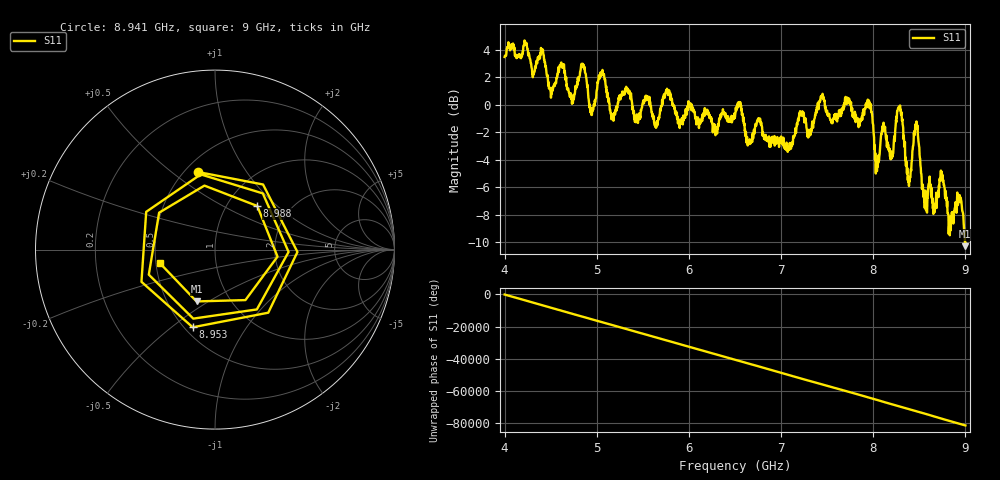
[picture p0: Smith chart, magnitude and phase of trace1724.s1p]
! Created with skrf 1.8.0 (http://scikit-rf.org).
# Hz S RI R 50.0
!freq ReS11 ImS11
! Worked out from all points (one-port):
!   1601 points, 4 GHz to 9 GHz, reference 50 ohm
!   lowest |S11| = -10.3 dB at 8.997 GHz (marker M1), VSWR 1.88, Z = 34.8 - j22.2 ohm
!   |S11| at or under -10 dB: 8.995645 GHz to end of sweep
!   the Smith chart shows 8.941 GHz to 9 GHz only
!   S11 on the Smith chart (normalised r, x): 8.941 GHz: 0.58, +0.62; 8.953 GHz: 0.55, -0.60; 8.988 GHz: 1.38, +0.76; 9 GHz: 0.53, -0.09
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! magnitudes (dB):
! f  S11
! 4 GHz  3.5
! 4.403 GHz  4.1
! 4.506 GHz  0.9
! 4.625 GHz  2.7
! 4.731 GHz  0.1
! 4.856 GHz  2.7
! 4.941 GHz  -0.7
! 5.047 GHz  2.2
! 5.166 GHz  -0.8
! 5.25 GHz  0.7
! 5.875 GHz  -0.8
! 6.5 GHz  -0.9
! 7.125 GHz  -2.9
! 7.438 GHz  0.6
! 7.75 GHz  0.1
! 7.962 GHz  0.0
! 8.044 GHz  -4.2
! 8.109 GHz  -1.7
! 8.2 GHz  -3.8
! 8.284 GHz  -0.2
! 8.375 GHz  -5.5
! 8.466 GHz  -1.5
! 8.566 GHz  -6.2
! 8.941 GHz  -7.1
! 8.953 GHz  -6.9
! 8.988 GHz  -9.4
! 8.997 GHz  -10.3
! 9 GHz  -10.0
